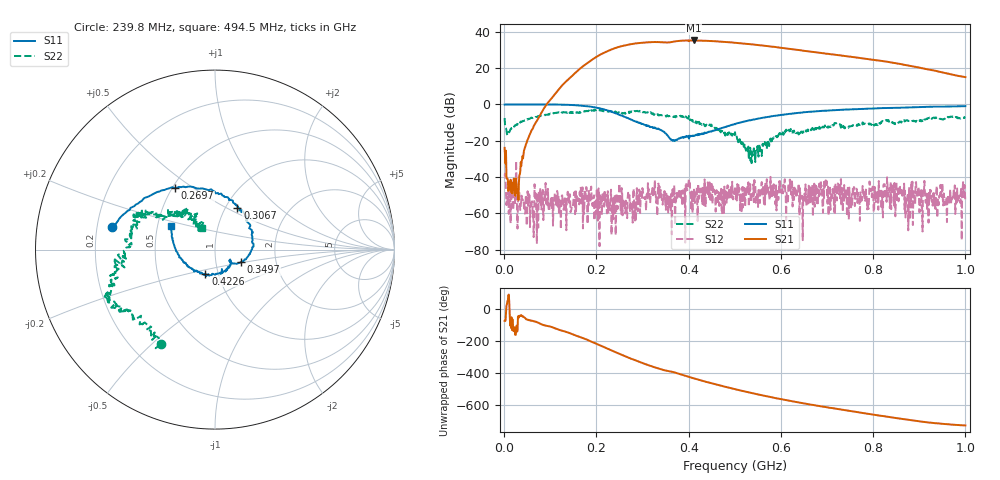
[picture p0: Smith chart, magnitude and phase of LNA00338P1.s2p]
! Created with skrf 1.9.0 (http://scikit-rf.org).
# Hz S RI R 50.0
!freq ReS11 ImS11 ReS21 ImS21 ReS12 ImS12 ReS22 ImS22
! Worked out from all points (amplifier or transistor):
!   1001 points, 1 MHz to 1 GHz, reference 50 ohm
!   highest |S21| = 35.2 dB at 410.6 MHz (marker M1)
!   |S21| within 3 dB of that: 256.8 MHz to 567.9 MHz (311.1 MHz wide, 75.4 % of centre)
!   unconditionally stable (mu >= 1): 218.1 MHz to 311.6 MHz; 400.6 MHz to 830.1 MHz; 830.3 MHz to end of sweep (the widest 3 of 31)
!   at 166.8 MHz: K = 1.23, MAG = 30.7 dB, |S12| = -47.1 dB
!   at 500.5 MHz: K = 1.80, MAG = 34.4 dB, |S12| = -45.2 dB
!   at 1 GHz: K = 6.77, MAG = 23.2 dB, |S12| = -53.9 dB
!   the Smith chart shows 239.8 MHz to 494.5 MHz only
!   S11 on the Smith chart (normalised r, x): 239.8 MHz: 0.27, +0.10; 269.7 MHz: 0.52, +0.43; 306.7 MHz: 1.14, +0.57; 349.7 MHz: 1.32, -0.19; 422.6 MHz: 0.87, -0.24; 494.5 MHz: 0.59, +0.17
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1000000  0.9908 0.0172  0.0182 -0.0613  -0.00484 0.00994  0.2726 0.324
1.08892e8  0.5052 -0.8557  -0.8739 -1.619  -0.00227 0.000128  0.4344 -0.3738
1.67833e8  -0.2657 -0.885  -10.47 -0.3075  0.00289 -0.00194  0.0316 -0.6383
2.08792e8  -0.675 -0.3719  -15.81 17.5  0.0015 -0.00113  -0.209 -0.6508
2.39761e8  -0.5712 0.1238  -1.284 35.31  -0.00016 0.00335  -0.3014 -0.5249
2.69731e8  -0.2221 0.3424  25.08 36.21  -4.22e-05 -0.003  -0.4903 -0.3332
3.06694e8  0.1253 0.2314  49.16 12.46  -0.00083 -0.0021  -0.5601 -0.1995
3.34666e8  0.2143 0.0171  50.52 -11.91  -0.00137 0.0065  -0.4957 -0.0505
3.49651e8  0.1438 -0.0706  45.87 -21.65  0.00118 0.00124  -0.4801 0.0257
3.77623e8  0.0877 -0.0716  39.7 -39.08  0.00137 0.00295  -0.4484 0.2074
4.1059e8  -0.00561 -0.1371  15.66 -55.4  0.00165 0.00123  -0.3028 0.1907
4.22578e8  -0.0536 -0.134  5.923 -56.55  0.00176 -0.00184  -0.2608 0.2072
4.55545e8  -0.1841 -0.0576  -18.9 -51.43  0.00447 0.000425  -0.1338 0.1992
4.94506e8  -0.2446 0.1308  -38.05 -33.65  0.00748 7.66e-05  -0.0721 0.1177
5.005e8  -0.2386 0.1557  -39.87 -30.46  -0.00451 -0.00315  -0.1023 0.1401
5.4046e8  -0.1587 0.3502  -43.64 -8.298  0.00638 -0.000785  -0.0467 0.0273
5.88412e8  0.0405 0.4869  -35.91 12.17  0.00135 -0.00129  -0.096 -0.0762
6.67333e8  0.4103 0.4818  -13.52 24.32  0.00105 -0.00294  -0.2049 -0.0524
7.53247e8  0.68 0.2735  3.951 19.93  -0.000756 -0.00327  -0.2562 0.0125
8.34166e8  0.7971 0.0198  10.77 9.974  -0.0043 -3.49e-05  -0.3335 -0.00891
9.14086e8  0.8188 -0.2558  9.286 1.642  -0.00117 0.00158  -0.3582 0.147
1e9  0.7334 -0.5155  5.544 -1.019  -0.00202 -7.08e-05  -0.3284 0.2992
